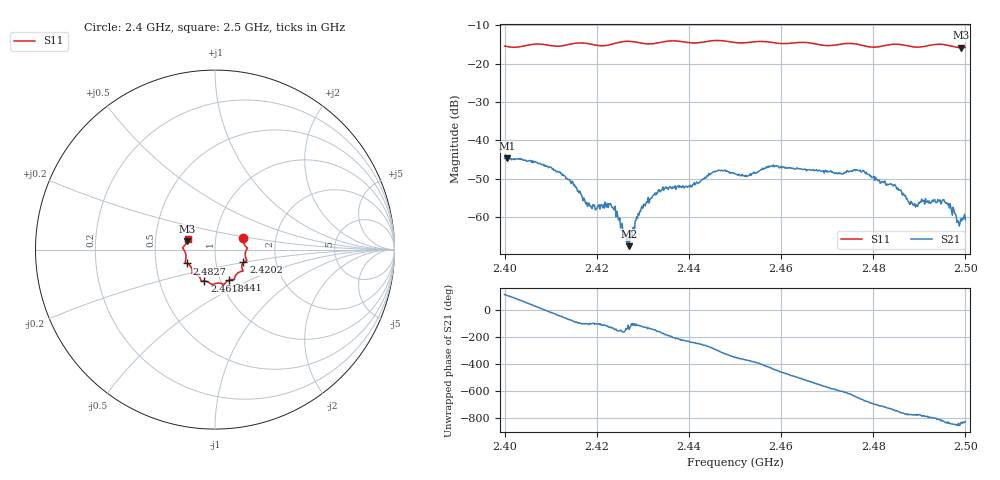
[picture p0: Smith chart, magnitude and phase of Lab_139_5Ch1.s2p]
# Hz S RI R 50
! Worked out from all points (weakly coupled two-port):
!   601 points, 2.4 GHz to 2.5 GHz, reference 50 ohm
!   highest |S21| = -44.61 dB at 2.4005 GHz (marker M1); lowest = -67.6 dB at 2.427 GHz (marker M2)
!   lowest |S11| = -15.8 dB at 2.499 GHz (marker M3), VSWR 1.39, Z = 36.4 + j3.48 ohm
!   |S11| at or under -10 dB: start of sweep to end of sweep
!   S12 and S22 are empty: the file has one direction only
!   S11 on the Smith chart (normalised r, x): 2.4 GHz: 1.36, +0.18; 2.4202 GHz: 1.36, -0.20; 2.441 GHz: 1.10, -0.39; 2.4618 GHz: 0.84, -0.30; 2.4827 GHz: 0.72, -0.11; 2.5 GHz: 0.73, +0.09
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2.4e9  0.1585 0.063  -0.00279 0.00513  0 0  0 0
2.4005e9  0.158 0.0576  -0.00217 0.00547  0 0  0 0
2.410167e9  0.172 -0.0077  0.00429 -0.00114  0 0  0 0
2.416667e9  0.1771 -0.061  -0.000308 -0.00193  0 0  0 0
2.420167e9  0.1584 -0.0711  -0.00029 -0.00133  0 0  0 0
2.4235e9  0.1501 -0.1021  -0.000889 -0.000998  0 0  0 0
2.4265e9  0.1566 -0.1188  -0.000345 -0.000291  0 0  0 0
2.427e9  0.156 -0.1194  -0.000329 -0.000259  0 0  0 0
2.429833e9  0.1381 -0.1238  -0.000682 -0.0012  0 0  0 0
2.433333e9  0.1112 -0.151  -0.00205 -0.000864  0 0  0 0
2.441e9  0.0788 -0.1697  -0.00136 0.00231  0 0  0 0
2.446e9  0.0498 -0.1952  0.00169 0.0036  0 0  0 0
2.45e9  0.0283 -0.1874  0.00367 0.000611  0 0  0 0
2.461833e9  -0.0591 -0.1754  -0.00229 -0.0038  0 0  0 0
2.466667e9  -0.0788 -0.1683  -0.00409 -0.000243  0 0  0 0
2.476667e9  -0.127 -0.1266  0.00151 0.0038  0 0  0 0
2.482667e9  -0.1558 -0.0771  0.00272 -7.37e-05  0 0  0 0
2.483333e9  -0.1602 -0.0751  0.00263 -0.000481  0 0  0 0
2.489167e9  -0.1614 -0.0349  0.000699 -0.00116  0 0  0 0
2.4955e9  -0.1771 0.0147  -0.000603 -0.00148  0 0  0 0
2.499e9  -0.1556 0.0465  -0.000458 -0.000832  0 0  0 0
2.5e9  -0.1521 0.0606  -0.000293 -0.000877  0 0  0 0
